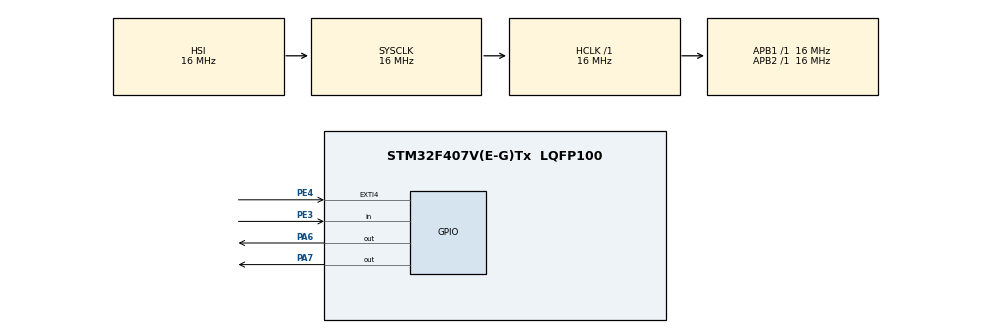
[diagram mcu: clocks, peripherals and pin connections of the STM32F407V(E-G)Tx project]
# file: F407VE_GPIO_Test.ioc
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Mcu.Family=STM32F4
Mcu.Name=STM32F407V(E-G)Tx
Mcu.Package=LQFP100
NVIC.EXTI4_IRQn=true\:1\:0\:true\:false\:true\:true\:true
NVIC.PriorityGroup=NVIC_PRIORITYGROUP_4
PA13.Mode=Trace_Asynchronous_SW
PA13.Signal=SYS_JTMS-SWDIO
PA14.Mode=Trace_Asynchronous_SW
PA14.Signal=SYS_JTCK-SWCLK
PA6.Signal=GPIO_Output
PA7.Signal=GPIO_Output
PB3.Mode=Trace_Asynchronous_SW
PB3.Signal=SYS_JTDO-SWO
PE3.GPIO_PuPd=GPIO_PULLUP
PE3.Signal=GPIO_Input
PE4.GPIO_ModeDefaultEXTI=GPIO_MODE_IT_FALLING
PE4.GPIO_PuPd=GPIO_PULLUP
PE4.Signal=GPXTI4
PH0-OSC_IN.Mode=HSE-External-Oscillator
PH0-OSC_IN.Signal=RCC_OSC_IN
PH1-OSC_OUT.Mode=HSE-External-Oscillator
PH1-OSC_OUT.Signal=RCC_OSC_OUT
ProjectManager.HeapSize=0x200
ProjectManager.StackSize=0x400
ProjectManager.TargetToolchain=STM32CubeIDE
RCC.48MHZClocksFreq_Value=24000000
RCC.AHBFreq_Value=16000000
RCC.APB1Freq_Value=16000000
RCC.APB2Freq_Value=16000000
RCC.CortexFreq_Value=16000000
RCC.HSE_VALUE=8000000
RCC.HSI_VALUE=16000000
RCC.LSE_VALUE=32768
RCC.PLLSourceVirtual=RCC_PLLSOURCE_HSE
RCC.SYSCLKFreq_VALUE=16000000
RCC.VCOOutputFreq_Value=96000000
board=custom

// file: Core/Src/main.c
/* USER CODE BEGIN Header */
/**
  ******************************************************************************
  * @file           : main.c
  * @brief          : Main program body
  ******************************************************************************
  * @attention
  *
  * <h2><center>&copy; Copyright (c) 2020 STMicroelectronics.
  * All rights reserved.</center></h2>
  *
  * This software component is licensed by ST under BSD 3-Clause license,
  * the "License"; You may not use this file except in compliance with the
  * License. You may obtain a copy of the License at:
  *                        opensource.org/licenses/BSD-3-Clause
  *
  ******************************************************************************
  */
/* USER CODE END Header */

#include "main.h"

/* USER CODE BEGIN Includes */
#include <stdio.h>
/* USER CODE END Includes */

/* USER CODE BEGIN PD */
#define K1 GPIO_PIN_3
#define K0 GPIO_PIN_4

#define D2 GPIO_PIN_6
#define D3 GPIO_PIN_7
/* USER CODE END PD */

void SystemClock_Config(void);
static void MX_GPIO_Init(void);

int main(void)
{

  /* MCU Configuration--------------------------------------------------------*/

  /* Reset of all peripherals, Initializes the Flash interface and the Systick. */
  HAL_Init();

  /* Configure the system clock */
  SystemClock_Config();

  /* Initialize all configured peripherals */
  MX_GPIO_Init();
  /* USER CODE BEGIN 2 */
  for (;;)
  {
	  GPIO_PinState x = HAL_GPIO_ReadPin(GPIOE, K1);
	  HAL_GPIO_WritePin(GPIOA, D2, x);
  }
  /* USER CODE END 2 */

  /* Infinite loop */
  while (1)
  {

  }
}

void SystemClock_Config(void)
{
  RCC_OscInitTypeDef RCC_OscInitStruct = {0};
  RCC_ClkInitTypeDef RCC_ClkInitStruct = {0};

  /** Configure the main internal regulator output voltage
  */
  __HAL_RCC_PWR_CLK_ENABLE();
  __HAL_PWR_VOLTAGESCALING_CONFIG(PWR_REGULATOR_VOLTAGE_SCALE1);
  /** Initializes the CPU, AHB and APB busses clocks
  */
  RCC_OscInitStruct.OscillatorType = RCC_OSCILLATORTYPE_HSI;
  RCC_OscInitStruct.HSIState = RCC_HSI_ON;
  RCC_OscInitStruct.HSICalibrationValue = RCC_HSICALIBRATION_DEFAULT;
  RCC_OscInitStruct.PLL.PLLState = RCC_PLL_NONE;
  if (HAL_RCC_OscConfig(&RCC_OscInitStruct) != HAL_OK)
  {
    Error_Handler();
  }
  /** Initializes the CPU, AHB and APB busses clocks
  */
  RCC_ClkInitStruct.ClockType = RCC_CLOCKTYPE_HCLK|RCC_CLOCKTYPE_SYSCLK
                              |RCC_CLOCKTYPE_PCLK1|RCC_CLOCKTYPE_PCLK2;
  RCC_ClkInitStruct.SYSCLKSource = RCC_SYSCLKSOURCE_HSI;
  RCC_ClkInitStruct.AHBCLKDivider = RCC_SYSCLK_DIV1;
  RCC_ClkInitStruct.APB1CLKDivider = RCC_HCLK_DIV1;
  RCC_ClkInitStruct.APB2CLKDivider = RCC_HCLK_DIV1;

  if (HAL_RCC_ClockConfig(&RCC_ClkInitStruct, FLASH_LATENCY_0) != HAL_OK)
  {
    Error_Handler();
  }
}

static void MX_GPIO_Init(void)
{
  GPIO_InitTypeDef GPIO_InitStruct = {0};

  /* GPIO Ports Clock Enable */
  __HAL_RCC_GPIOE_CLK_ENABLE();
  __HAL_RCC_GPIOH_CLK_ENABLE();
  __HAL_RCC_GPIOA_CLK_ENABLE();
  __HAL_RCC_GPIOB_CLK_ENABLE();

  /*Configure GPIO pin Output Level */
  HAL_GPIO_WritePin(GPIOA, GPIO_PIN_6|GPIO_PIN_7, GPIO_PIN_RESET);

  /*Configure GPIO pin : PE3 */
  GPIO_InitStruct.Pin = GPIO_PIN_3;
  GPIO_InitStruct.Mode = GPIO_MODE_INPUT;
  GPIO_InitStruct.Pull = GPIO_PULLUP;
  HAL_GPIO_Init(GPIOE, &GPIO_InitStruct);

  /*Configure GPIO pin : PE4 */
  GPIO_InitStruct.Pin = GPIO_PIN_4;
  GPIO_InitStruct.Mode = GPIO_MODE_IT_FALLING;
  GPIO_InitStruct.Pull = GPIO_PULLUP;
  HAL_GPIO_Init(GPIOE, &GPIO_InitStruct);

  /*Configure GPIO pins : PA6 PA7 */
  GPIO_InitStruct.Pin = GPIO_PIN_6|GPIO_PIN_7;
  GPIO_InitStruct.Mode = GPIO_MODE_OUTPUT_PP;
  GPIO_InitStruct.Pull = GPIO_NOPULL;
  GPIO_InitStruct.Speed = GPIO_SPEED_FREQ_LOW;
  HAL_GPIO_Init(GPIOA, &GPIO_InitStruct);

  /* EXTI interrupt init*/
  HAL_NVIC_SetPriority(EXTI4_IRQn, 1, 0);
  HAL_NVIC_EnableIRQ(EXTI4_IRQn);

}

/* USER CODE BEGIN 4 */
int _write(int file, char *ptr, int len)
{
  /* Implement your write code here, this is used by puts and printf for example */
  int i=0;
  for(i=0 ; i<len ; i++)
    ITM_SendChar((*ptr++));
  return len;
}

void relativeUsDelay(uint32_t us)
{
	for (uint32_t i = 0; i < us; ++i)
	{
		__NOP(); __NOP(); __NOP(); __NOP(); __NOP(); __NOP(); __NOP(); __NOP();
		__NOP(); __NOP(); __NOP(); __NOP(); __NOP(); __NOP(); __NOP(); __NOP();
//		__NOP(); __NOP(); __NOP(); __NOP(); __NOP(); __NOP(); __NOP(); __NOP();
//		__NOP(); __NOP(); __NOP(); __NOP(); __NOP(); __NOP(); __NOP(); __NOP();
//		__NOP(); __NOP(); __NOP(); __NOP(); __NOP(); __NOP(); __NOP(); __NOP();
//		__NOP(); __NOP(); __NOP(); __NOP(); __NOP(); __NOP(); __NOP(); __NOP();
	}
}

void HAL_GPIO_EXTI_Callback(uint16_t GPIO_Pin)
{
//	relativeUsDelay(100000); // Can't use HAL_Delay in IRS, so I create a new function to perform the delay
	HAL_Delay(100); // I set the EXTI priority value higher than Systick interrupt (that mean, Systick Interrput is more urgent), so HAL_Delay can be used
	HAL_GPIO_TogglePin(GPIOA, D3);
	printf("EXINT !!\r\n");
	__HAL_GPIO_EXTI_CLEAR_IT(GPIO_Pin); // Prevent button bouncing generate another interrupt
}
/* USER CODE END 4 */

void Error_Handler(void)
{
}

/************************ (C) COPYRIGHT STMicroelectronics *****END OF FILE****/
